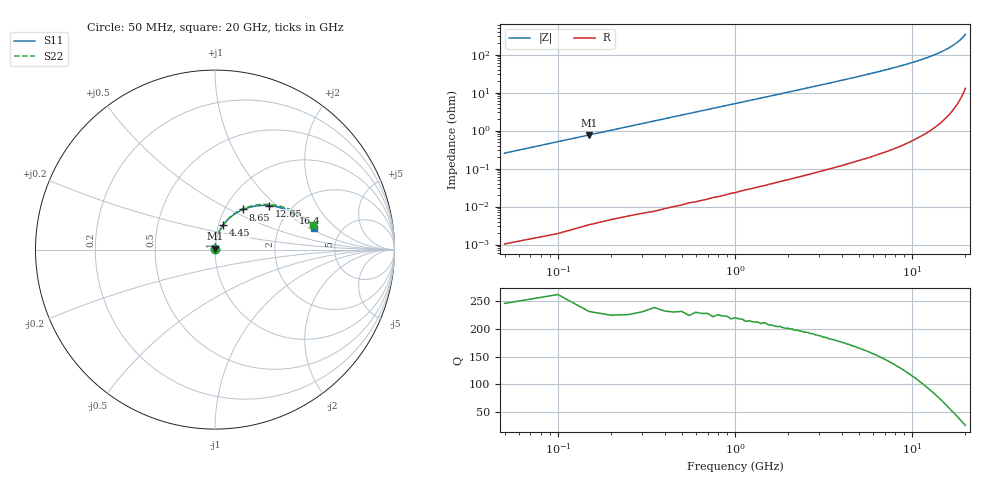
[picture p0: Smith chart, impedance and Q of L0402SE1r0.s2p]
!	AVX Thin Film Operation
!	Date:		5 January 2004
!	Description: 	Accu-L®  L0402 Series Thin Film RF Inductors
!	Part Number:	L04021R0AHNTR
!	50 MHz-20GHz Serial Measurements
#	mhz	S	db	R	50
!	S11	S11	S21	S21	S12	S12	S22	S22
!	dB	Phase	dB	Phase	dB	Phase	dB	Phase
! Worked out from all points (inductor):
!   400 points, 50 MHz to 20 GHz, reference 50 ohm
!   read as 1/Y11, port 2 shorted: L = 812 pH near 150 MHz
!   highest Q = 238 at 150 MHz (marker M1), where L = 812 pH
!   S11 on the Smith chart (normalised r, x): 50 MHz: 1.00, +0.00; 4.45 GHz: 1.05, +0.29; 8.65 GHz: 1.22, +0.59; 12.65 GHz: 1.54, +0.89; 16.4 GHz: 2.14, +1.14; 20 GHz: 3.16, +1.09
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50  -55.77 89.4  -0.00 -0.2  -0.00 -0.2  -55.77 89.4
100  -49.75 89.2  -0.00 -0.4  -0.00 -0.4  -49.75 89.2
150  -46.23 89.0  -0.00 -0.6  -0.00 -0.6  -46.23 89.0
200  -43.73 88.8  -0.00 -0.8  -0.00 -0.8  -43.73 88.8
250  -41.79 88.6  -0.00 -1.0  -0.00 -1.0  -41.79 88.6
350  -38.87 88.2  -0.00 -1.4  -0.00 -1.4  -38.87 88.2
450  -36.68 87.8  -0.00 -1.8  -0.00 -1.8  -36.68 87.8
700  -32.85 86.8  -0.00 -2.8  -0.00 -2.8  -32.85 86.9
1050  -29.32 85.4  -0.01 -4.2  -0.01 -4.2  -29.32 85.5
1450  -26.52 83.7  -0.01 -5.8  -0.01 -5.8  -26.52 83.9
2000  -23.73 81.5  -0.02 -8.0  -0.02 -8.0  -23.73 81.7
2650  -21.30 78.9  -0.04 -10.5  -0.04 -10.5  -21.30 79.1
3400  -19.15 75.8  -0.06 -13.5  -0.06 -13.5  -19.15 76.2
4450  -16.84 71.6  -0.10 -17.7  -0.10 -17.7  -16.84 72.0
6700  -13.37 62.6  -0.22 -26.5  -0.22 -26.5  -13.37 63.3
8650  -11.25 54.8  -0.36 -34.1  -0.36 -34.1  -11.25 55.7
10050  -10.04 49.3  -0.48 -39.5  -0.48 -39.5  -10.04 50.3
12650  -8.24 39.3  -0.75 -49.4  -0.75 -49.4  -8.24 40.5
13350  -7.83 36.6  -0.83 -52.0  -0.83 -52.0  -7.83 37.9
16400  -6.33 25.1  -1.22 -63.3  -1.22 -63.3  -6.33 26.7
16700  -6.20 24.0  -1.26 -64.4  -1.26 -64.4  -6.20 25.6
20000  -4.99 12.1  -1.75 -76.1  -1.75 -76.1  -4.99 14.0
